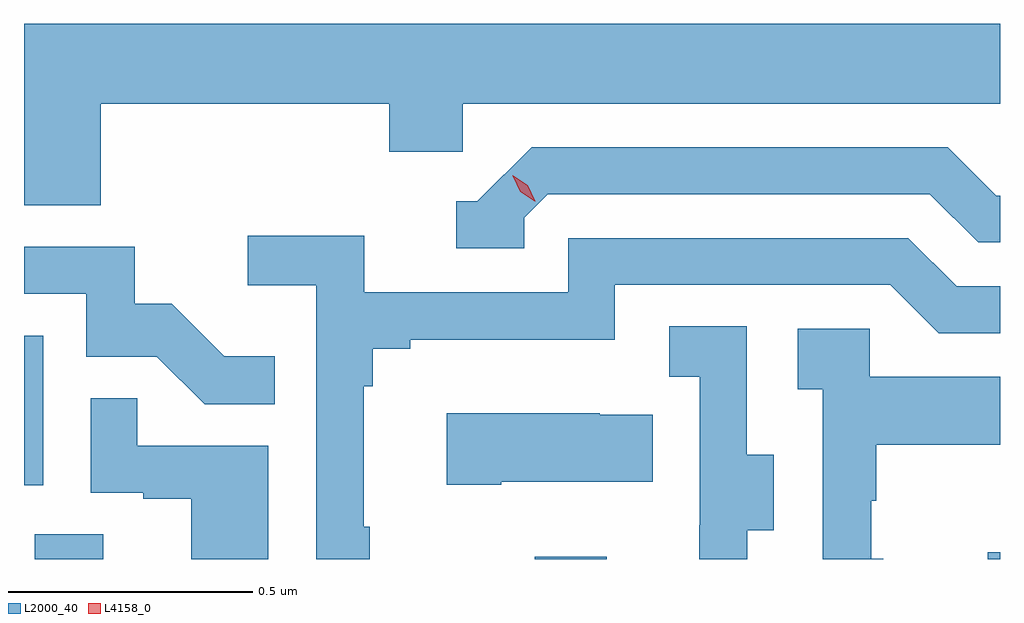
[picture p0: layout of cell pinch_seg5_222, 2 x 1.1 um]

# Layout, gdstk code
import gdstk
lib = gdstk.Library(unit=1e-6, precision=1e-09)
def R(c, l, rs):  # rectangles x0, y0, x1, y1
    for r in rs: c.add(gdstk.rectangle(r[:2], r[2:], *l))
def P(c, l, *ps):  # polygons
    for p in ps: c.add(gdstk.Polygon(p, *l))
L2000_40 = (2000, 40)
L4158_0 = (4158, 0)

pinch_seg5_222 = lib.new_cell('pinch_seg5_222')
R(pinch_seg5_222, L2000_40, [(957.785,894.455,957.925,894.506), (958.81,894.455,958.957,894.46), (959.738,894.455,959.763,894.469), (957.763,894.606,957.802,894.913)])
P(pinch_seg5_222, L2000_40, [(957.92,895.388),(958.511,895.388),(958.511,895.29),(958.662,895.29),(958.662,895.388),(959.763,895.388),(959.763,895.552),(957.763,895.552),(957.763,895.18),(957.92,895.18)],
  [(958.788,895.155),(958.836,895.203),(959.619,895.203),(959.718,895.104),(959.763,895.104),(959.763,895.2),(959.755,895.2),(959.656,895.299),(958.803,895.299),(958.692,895.188),(958.649,895.188),(958.649,895.092),(958.788,895.092)],
  [(958.471,894.521),(958.459,894.521),(958.459,894.809),(958.478,894.809),(958.478,894.886),(958.555,894.886),(958.555,894.905),(958.974,894.905),(958.974,895.017),(959.538,895.017),(959.637,894.918),(959.763,894.918),(959.763,895.014),(959.674,895.014),(959.575,895.113),(958.878,895.113),(958.878,895.002),(958.46,895.002),(958.46,895.118),(958.221,895.118),(958.221,895.016),(958.362,895.016),(958.362,894.455),(958.471,894.455)],
  [(958.277,894.871),(958.173,894.871),(958.066,894.978),(957.99,894.978),(957.99,895.095),(957.763,895.095),(957.763,894.999),(957.891,894.999),(957.891,894.87),(958.035,894.87),(958.133,894.772),(958.277,894.772)],
  [(959.245,894.514),(959.299,894.514),(959.299,894.669),(959.244,894.669),(959.244,894.932),(959.085,894.932),(959.085,894.829),(959.148,894.829),(959.148,894.525),(959.147,894.525),(959.147,894.455),(959.245,894.455)],
  [(959.524,894.456),(959.499,894.456),(959.499,894.575),(959.509,894.575),(959.509,894.689),(959.763,894.689),(959.763,894.829),(959.496,894.829),(959.496,894.927),(959.349,894.927),(959.349,894.803),(959.4,894.803),(959.4,894.455),(959.524,894.455)],
  [(958.264,894.687),(957.995,894.687),(957.995,894.785),(957.9,894.785),(957.9,894.591),(958.007,894.591),(958.007,894.579),(958.106,894.579),(958.106,894.455),(958.264,894.455)],
  [(958.741,894.614),(959.051,894.614),(959.051,894.751),(958.943,894.751),(958.943,894.754),(958.629,894.754),(958.629,894.607),(958.741,894.607)])
P(pinch_seg5_222, L4158_0, [(958.81,895.188),(958.78,895.208),(958.765,895.241),(958.765,895.242),(958.765,895.242),(958.795,895.221),(958.811,895.188),(958.811,895.188)])

lib.write_gds('pinch_seg5_222.gds')
